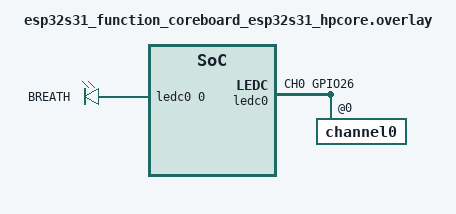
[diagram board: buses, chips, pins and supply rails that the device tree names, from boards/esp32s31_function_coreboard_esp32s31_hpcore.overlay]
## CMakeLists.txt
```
cmake_minimum_required(VERSION 3.20.0)
find_package(Zephyr REQUIRED HINTS $ENV{ZEPHYR_BASE})
project(korvo_lab)

# 同步呼吸灯规范由 Zephyr module `elab-app-common` 提供（breath_sync）。
# 本工程只负责取时间与刷灯。
target_sources(app PRIVATE src/main.c)
```

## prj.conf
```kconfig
# 阶段 3：驱动实机实验（GPIO / I2C / ADC / WS2812）
CONFIG_CONSOLE=y
CONFIG_SERIAL=y
CONFIG_UART_CONSOLE=y

CONFIG_GPIO=y
CONFIG_I2C=y
CONFIG_ADC=y

# WS2812 走 RMT（pulse_io）
CONFIG_LED_STRIP=y
CONFIG_WS2812_STRIP_PULSE_IO=y

# 第 3 项：PWM（LEDC0 通道0 → GPIO26）
CONFIG_PWM=y

# 第 6 项：CAN / TWAI（板载 twai0；S31 的 binding 是 esp32-twaifd，不是 esp32-twai）
CONFIG_CAN=y
CONFIG_CAN_ESP32_TWAIFD=y

# 第 1 项：按键走 input 子系统。
# adc-keys 驱动自己是 default y（节点一进树就编），但 INPUT 子系统不会自动开，
# 漏了这一行就是链接期 undefined reference。
CONFIG_INPUT=y

CONFIG_SHELL=y
CONFIG_SHELL_BACKEND_SERIAL=y
CONFIG_SHELL_STACK_SIZE=4096

CONFIG_LOG=y
CONFIG_LOG_DEFAULT_LEVEL=3

CONFIG_MAIN_STACK_SIZE=2560
CONFIG_HEAP_MEM_POOL_SIZE=8192
```

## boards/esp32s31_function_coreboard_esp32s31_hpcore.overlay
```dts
/*
 * korvo_lab 的 Korvo-1（ESP32-S31）板级 overlay（驱动实验台）
 *
 * 文件名 = 板目标下划线化：esp32s31_function_coreboard/esp32s31/hpcore
 *          -> esp32s31_function_coreboard_esp32s31_hpcore.overlay
 *
 * 公共差异收进 ../../../common/korvo_board.dtsi（PA_CTRL / WS2812@GPIO37 / adc0），
 * 本工程额外要 I2C0，所以再引一层 ../../../common/korvo_i2c.dtsi。
 * 相对路径是相对本文件（boards\），所以是 ..\..\..\common\。
 *
 * 引脚（官方用户指南 V1.1）：
 *   I2C_SDA=GPIO0  I2C_SCL=GPIO1（ES8389）
 *   PA_CTRL=GPIO7  WS2812=GPIO37（RMT OUT0）
 *   BOOT=GPIO61（bank1 pin29，上游板级 gpio-keys 里已定义）
 */

#include <zephyr/dt-bindings/pwm/pwm.h>
#include <zephyr/dt-bindings/gpio/gpio.h>

#include "../../../common/korvo_board.dtsi"
#include "../../../common/korvo_i2c.dtsi"

/* ---------- 第 3 项：PWM（LEDC0 通道 0 → GPIO26） ----------
 * 板上没有独立的 PWM 负载（LCD_MOSI/SCK 是屏专用），GPIO26 在官方管脚表里
 * 未被任何器件占用，接一个 LED + 限流电阻就能看到呼吸效果。
 * LEDC 的通道必须在子节点里声明（reg = 通道号），pinctrl 宏名是 LEDC_CH0_GPIO26。
 */
&pinctrl {
	ledc0_korvo: ledc0_korvo {
		group1 {
			pinmux = <LEDC_CH0_GPIO26>;
			output-enable;
		};
	};
};

&ledc0 {
	pinctrl-0 = <&ledc0_korvo>;
	pinctrl-names = "default";
	status = "okay";
	#address-cells = <1>;
	#size-cells = <0>;

	channel0@0 {
		reg = <0>;
		timer = <0>;
	};
};

/ {
	pwmleds {
		compatible = "pwm-leds";

		breath: breath_led {
			/* 通道 0，周期 1 ms（1 kHz），高有效 */
			pwms = <&ledc0 0 1000000 GPIO_ACTIVE_HIGH>;
			label = "BREATH";
		};
	};

	aliases {
		pwm-led0 = &breath;
		can0 = &twai0;
	};
};
```

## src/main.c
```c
/*
 * Korvo-1 驱动实验台：lab gpio / lab i2c / lab adc / lab led
 *
 * 每个子命令打印"接口返回值 + 现场读数"，教程正文里的 [xxx] 行就是这里的原样输出。
 */

#include <zephyr/kernel.h>
#include <zephyr/shell/shell.h>
#include <zephyr/drivers/gpio.h>
#include <zephyr/drivers/i2c.h>
#include <zephyr/drivers/adc.h>
#include <zephyr/drivers/led_strip.h>
#include <zephyr/drivers/pwm.h>
#include <zephyr/drivers/can.h>
#include <zephyr/logging/log.h>

#include <stdlib.h>

/* 同步呼吸灯规范 v1.0（applications\common）：纯函数 + UTC 估计器，只依赖 stdint.h */
#include "breath_sync.h"

LOG_MODULE_REGISTER(lab, LOG_LEVEL_INF);

#define PA_GPIOS   DT_ALIAS(pa_ctrl)
#define KEY_GPIOS  DT_ALIAS(sw0)
#define STRIP_NODE DT_ALIAS(led_strip)

static const struct gpio_dt_spec pa  = GPIO_DT_SPEC_GET(PA_GPIOS, gpios);
static const struct gpio_dt_spec key = GPIO_DT_SPEC_GET(KEY_GPIOS, gpios);
static const struct device *strip = DEVICE_DT_GET(STRIP_NODE);
static const struct device *bus = DEVICE_DT_GET(DT_NODELABEL(i2c0));
static const struct device *adc_dev = DEVICE_DT_GET(DT_NODELABEL(adc0));

/* 第 3 项：PWM（breath 节点 = &ledc0 通道 0 → GPIO26） */
static const struct pwm_dt_spec breath = PWM_DT_SPEC_GET(DT_NODELABEL(breath));

/* 呼吸灯规范 v1.0 的 UTC 估计器：没网没 RTC，靠 lab synctime 人工对表 */
static struct breath_clock g_breath_clk;

/* 第 6 项：CAN（板载 twai0，环回自发自收） */
static const struct device *can_dev = DEVICE_DT_GET(DT_NODELABEL(twai0));
K_MSGQ_DEFINE(can_rxq, sizeof(struct can_frame), 4, 4);

/* ES8389 在 0x10（i2c scan 实测），另一个从设备在 0x14 */
#define CODEC_ADDR 0x10
#define GHOST_ADDR 0x50

static const char *err(int ret)
{
	switch (ret) {
	case 0:          return "0";
	case -ENOTSUP:   return "-ENOTSUP";
	case -ENODEV:    return "-ENODEV";
	case -EIO:       return "-EIO";
	case -EINVAL:    return "-EINVAL";
	case -EBUSY:     return "-EBUSY";
	case -ENOSYS:    return "-ENOSYS";
	case -ETIMEDOUT: return "-ETIMEDOUT";
	default:         return "?";
	}
}

static volatile uint32_t cb_count;
static volatile uint32_t cb_pins;
static struct gpio_callback key_cb;

static void on_key(const struct device *port, struct gpio_callback *cb, uint32_t pins)
{
	ARG_UNUSED(port);
	ARG_UNUSED(cb);

	cb_count++;
	cb_pins = pins;
}

/* --------------------------------------------------------------- GPIO 原始寄存器 */
/*
 * gpio0 基址 0x20583000，gpio1 基址 0x20583800
 *   IN   = +0x64   IN1 = +0x68   ENABLE = +0x34
 * 用来验证"按键到底有没有动"，绕开驱动抽象层。
 */
#define GPIO0_BASE 0x20583000u
#define GPIO1_BASE 0x20583800u
#define REG_IN     0x64u
#define REG_IN1    0x68u
#define REG_ENA    0x34u

static int cmd_key(const struct shell *sh, size_t argc, char **argv)
{
	ARG_UNUSED(argc);
	ARG_UNUSED(argv);

	const struct device *g0 = DEVICE_DT_GET(DT_NODELABEL(gpio0));
	int ret;

	shell_print(sh, "配置前: ENABLE1=0x%08x IN1=0x%08x", sys_read32(GPIO0_BASE + 0x40u),
		    sys_read32(GPIO0_BASE + REG_IN1));

	/* BOOT 是物理引脚 61（bank1 第 29 个）：直接用 gpio0 设备 + 61 */
	ret = gpio_pin_configure(g0, 61, GPIO_INPUT | GPIO_PULL_UP);
	shell_print(sh, "gpio_pin_configure(gpio0, 61, INPUT|PULL_UP) = %s", err(ret));
	k_msleep(20);

	shell_print(sh, "配置后: ENABLE1=0x%08x IN1=0x%08x, api_get(61)=%d",
		    sys_read32(GPIO0_BASE + 0x40u), sys_read32(GPIO0_BASE + REG_IN1),
		    gpio_pin_get(g0, 61));

	uint32_t last = 0xFFFFFFFFu;

	shell_print(sh, "6 秒内监听，请按住 BOOT 键 2 秒再松开...");

	for (int i = 0; i < 60; i++) {
		uint32_t in1 = sys_read32(GPIO0_BASE + REG_IN1);
		int lvl_api = gpio_pin_get(g0, 61);
		uint32_t lvl_raw = !!(in1 & BIT(29));

		if (lvl_raw != last) {
			shell_print(sh, "[t=%d.%01ds] IN1=0x%08x bit29=%u api_get=%d", i / 10,
				    i % 10, in1, lvl_raw, lvl_api);
			last = lvl_raw;
		}
		k_msleep(100);
	}

	shell_print(sh, "结束: IN1=0x%08x, api_get=%d", sys_read32(GPIO0_BASE + REG_IN1),
		    gpio_pin_get(g0, 61));
	return 0;
}

/* ---------------------------------------------------------------- GPIO */
static int cmd_gpio(const struct shell *sh, size_t argc, char **argv)
{
	ARG_UNUSED(argc);
	ARG_UNUSED(argv);

	int ret;
	int level;
	gpio_port_value_t v;

	shell_print(sh, "[node] pa=%s key=%s", pa.port->name, key.port->name);

	/* ---- configure ---- */
	ret = gpio_pin_configure_dt(&pa, GPIO_OUTPUT_INACTIVE);
	shell_print(sh, "[configure] PA%d 输出，初始低 = %s", pa.pin, err(ret));

	ret = gpio_pin_configure_dt(&pa, GPIO_OUTPUT | GPIO_OPEN_DRAIN);
	shell_print(sh, "[configure] PA%d 开漏输出 = %s", pa.pin, err(ret));

	ret = gpio_pin_configure_dt(&pa, GPIO_OUTPUT | GPIO_OPEN_SOURCE);
	shell_print(sh, "[configure] PA%d 开源输出 = %s", pa.pin, err(ret));

	ret = gpio_pin_configure_dt(&key, GPIO_INPUT | GPIO_PULL_UP);
	shell_print(sh, "[configure] BOOT(gpio1 pin%d) 输入+上拉 = %s", key.pin, err(ret));

	/* ---- set / get / raw ---- */
	ret = gpio_pin_configure_dt(&pa, GPIO_OUTPUT_INACTIVE);
	ret = gpio_pin_set_dt(&pa, 1);
	shell_print(sh, "[set] gpio_pin_set_dt(PA,1) = %s", err(ret));

	level = gpio_pin_get_dt(&pa);
	shell_print(sh, "[get] gpio_pin_get_dt(PA) = %d", level);

	ret = gpio_port_get_raw(pa.port, &v);
	shell_print(sh, "[get_raw] gpio_port_get_raw(gpio0) = %s, PA 位 = %d", err(ret),
		    !!(v & BIT(pa.pin)));

	ret = gpio_pin_set_dt(&pa, 0);
	shell_print(sh, "[set] gpio_pin_set_dt(PA,0) = %s", err(ret));

	/* ---- toggle ---- */
	ret = gpio_pin_toggle_dt(&pa);
	shell_print(sh, "[toggle] gpio_pin_toggle_dt(PA) = %s", err(ret));
	for (int i = 0; i < 6; i++) {
		k_msleep(100);
		gpio_pin_toggle_dt(&pa);
	}
	shell_print(sh, "[toggle] 翻转 6 次完成（PA_CTRL 无指示灯，靠返回值确认）");

	/* ---- 端口级操作 ---- */
	ret = gpio_port_clear_bits_raw(pa.port, BIT(pa.pin));
	gpio_port_get_raw(pa.port, &v);
	shell_print(sh, "[port_clear] gpio_port_clear_bits_raw = %s, PA 位 = %d", err(ret),
		    !!(v & BIT(pa.pin)));

	ret = gpio_port_set_bits_raw(pa.port, BIT(pa.pin));
	gpio_port_get_raw(pa.port, &v);
	shell_print(sh, "[port_set] gpio_port_set_bits_raw = %s, PA 位 = %d", err(ret),
		    !!(v & BIT(pa.pin)));

	ret = gpio_port_toggle_bits(pa.port, BIT(pa.pin));
	gpio_port_get_raw(pa.port, &v);
	shell_print(sh, "[port_toggle] gpio_port_toggle_bits = %s, PA 位 = %d", err(ret),
		    !!(v & BIT(pa.pin)));

	ret = gpio_port_set_masked_raw(pa.port, BIT(pa.pin), 0);
	gpio_port_get_raw(pa.port, &v);
	shell_print(sh, "[port_masked] gpio_port_set_masked_raw(PA,0) = %s, PA 位 = %d", err(ret),
		    !!(v & BIT(pa.pin)));

	/* ---- 按键输入 ---- */
	k_msleep(10);
	level = gpio_pin_get_dt(&key);
	shell_print(sh, "[get] gpio_pin_get_dt(BOOT) = %d  (0=按下 1=松开)", level);

	ret = gpio_port_get_raw(key.port, &v);
	shell_print(sh, "[get_raw] gpio_port_get_raw(gpio1) = %s, BOOT 位 = %d", err(ret),
		    !!(v & BIT(key.pin)));

	/* ---- 中断 ---- */
	gpio_init_callback(&key_cb, on_key, BIT(key.pin));
	ret = gpio_add_callback(key.port, &key_cb);
	shell_print(sh, "[init_callback] gpio_add_callback = %s, pin_mask = 0x%08x", err(ret),
		    (unsigned int)key_cb.pin_mask);

	ret = gpio_pin_interrupt_configure_dt(&key, GPIO_INT_EDGE_BOTH);
	shell_print(sh, "[interrupt] 装 EDGE_BOTH = %s", err(ret));
	shell_print(sh, "[interrupt] 现在按几下 BOOT 键（10 秒窗口）...");

	cb_count = 0;
	uint32_t edges = 0;
	int last = gpio_pin_get_dt(&key);

	for (int i = 0; i < 100; i++) {
		k_msleep(100);
		int cur = gpio_pin_get_dt(&key);

		if (cur != last) {
			edges++;
			last = cur;
		}
	}
	shell_print(sh, "[interrupt] 轮询到电平变化 %u 次，回调 %u 次", edges, cb_count);
	shell_print(sh, "[interrupt] 最后 pins = 0x%08x，当前电平 = %d", cb_pins,
		    gpio_pin_get_dt(&key));

	ret = gpio_pin_interrupt_configure_dt(&key, GPIO_INT_DISABLE);
	shell_print(sh, "[interrupt] GPIO_INT_DISABLE = %s", err(ret));

	ret = gpio_get_pending_int(key.port);
	shell_print(sh, "[pending] gpio_get_pending_int(gpio1) = %d", ret);

	return 0;
}

/* ----------------------------------------------------------------- I2C */
static int cmd_i2c(const struct shell *sh, size_t argc, char **argv)
{
	ARG_UNUSED(argc);
	ARG_UNUSED(argv);

	if (!device_is_ready(bus)) {
		shell_error(sh, "i2c0 not ready");
		return -ENODEV;
	}

	shell_print(sh, "[node] bus=%s", bus->name);

	/* ---- i2c_configure ---- */
	int ret;

	ret = i2c_configure(bus, I2C_SPEED_SET(I2C_SPEED_STANDARD) | I2C_MODE_CONTROLLER);
	shell_print(sh, "[configure] standard 100 kHz = %s", err(ret));

	ret = i2c_configure(bus, I2C_SPEED_SET(I2C_SPEED_FAST) | I2C_MODE_CONTROLLER);
	shell_print(sh, "[configure] fast 400 kHz = %s", err(ret));

	ret = i2c_configure(bus, I2C_SPEED_SET(I2C_SPEED_FAST_PLUS) | I2C_MODE_CONTROLLER);
	shell_print(sh, "[configure] fast plus 1 MHz = %s", err(ret));

	ret = i2c_configure(bus, I2C_SPEED_SET(I2C_SPEED_STANDARD) | I2C_MODE_CONTROLLER |
			    I2C_ADDR_10_BITS);
	shell_print(sh, "[configure] 10 bit 地址 = %s", err(ret));

	ret = i2c_configure(bus, I2C_SPEED_SET(I2C_SPEED_STANDARD));
	shell_print(sh, "[configure] 缺 I2C_MODE_CONTROLLER = %s", err(ret));

	i2c_configure(bus, I2C_SPEED_SET(I2C_SPEED_FAST) | I2C_MODE_CONTROLLER);

	/* ---- i2c_get_config ---- */
	uint32_t cfg = 0;

	ret = i2c_get_config(bus, &cfg);
	shell_print(sh, "[get_config] i2c_get_config = %s, cfg = 0x%08x", err(ret), cfg);

	/* ---- 扫描 ---- */
	int found = 0;

	shell_print(sh, "[scan] 0x08..0x77 逐个零字节写：");
	for (uint16_t a = 0x08; a <= 0x77; a++) {
		if (i2c_write(bus, NULL, 0, a) == 0) {
			shell_print(sh, "[scan] 发现 0x%02x", a);
			found++;
		}
	}
	shell_print(sh, "[scan] 共 %d 个从设备", found);

	/* ---- write 设寄存器地址 + read 取值 ---- */
	uint8_t reg = 0x00;
	uint8_t val = 0;

	ret = i2c_write(bus, &reg, 1, CODEC_ADDR);
	shell_print(sh, "[write] i2c_write(reg 0x00) = %s", err(ret));

	ret = i2c_read(bus, &val, 1, CODEC_ADDR);
	shell_print(sh, "[read]  i2c_read(1B) = %s, val = 0x%02x", err(ret), val);

	/* ---- 读一串寄存器 ---- */
	uint8_t regs[8] = {0};

	for (uint8_t r = 0; r < 8; r++) {
		uint8_t v = 0;

		ret = i2c_reg_read_byte(bus, CODEC_ADDR, r, &v);
		if (ret == 0) {
			regs[r] = v;
		}
	}
	shell_print(sh, "[regs] 0x%02x 0x%02x 0x%02x 0x%02x 0x%02x 0x%02x 0x%02x 0x%02x",
		    regs[0], regs[1], regs[2], regs[3], regs[4], regs[5], regs[6], regs[7]);

	/* ---- write_read（无停止的重复起始）---- */
	uint8_t burst[4] = {0};

	ret = i2c_write_read(bus, CODEC_ADDR, &reg, 1, burst, sizeof(burst));
	shell_print(sh, "[write_read] = %s: %02x %02x %02x %02x", err(ret), burst[0], burst[1],
		    burst[2], burst[3]);

	/* ---- burst_read ---- */
	ret = i2c_burst_read(bus, CODEC_ADDR, 0x00, burst, sizeof(burst));
	shell_print(sh, "[burst] i2c_burst_read(0x00,4) = %s", err(ret));

	/* ---- transfer ---- */
	struct i2c_msg msgs[2] = {
		{ .buf = &reg, .len = 1, .flags = I2C_MSG_WRITE },
		{ .buf = burst, .len = sizeof(burst),
		  .flags = I2C_MSG_READ | I2C_MSG_RESTART | I2C_MSG_STOP },
	};

	ret = i2c_transfer(bus, msgs, 2, CODEC_ADDR);
	shell_print(sh, "[transfer] write+restart+read = %s", err(ret));

	msgs[1].flags |= I2C_MSG_ADDR_10_BITS;
	ret = i2c_transfer(bus, msgs, 2, CODEC_ADDR);
	shell_print(sh, "[transfer] 10 bit 地址 = %s", err(ret));

	msgs[1].flags &= ~I2C_MSG_ADDR_10_BITS;
	ret = i2c_transfer(bus, msgs, 2, 0x100);
	shell_print(sh, "[transfer] 地址 0x100 = %s", err(ret));

	/* ---- 没有设备应答 ---- */
	uint8_t b = 0;

	ret = i2c_read(bus, &b, 1, GHOST_ADDR);
	shell_print(sh, "[nack] 读 0x%02x = %s", GHOST_ADDR, err(ret));

	ret = i2c_write(bus, &b, 1, GHOST_ADDR);
	shell_print(sh, "[nack] 写 0x%02x = %s", GHOST_ADDR, err(ret));

	return 0;
}

/* ----------------------------------------------------------------- ADC */
static int cmd_adc(const struct shell *sh, size_t argc, char **argv)
{
	ARG_UNUSED(argc);
	ARG_UNUSED(argv);

	if (!device_is_ready(adc_dev)) {
		shell_error(sh, "adc0 not ready");
		return -ENODEV;
	}

	int32_t raw = 0;
	struct adc_sequence seq = {
		.resolution = 17,           /* S31 只有 17 位，别的值驱动拒绝 */
		.buffer = &raw,
		.buffer_size = sizeof(raw),
		.channels = 0,
	};

	shell_print(sh, "[node] adc=%s, resolution=17", adc_dev->name);

	for (int ch = 0; ch < 8; ch++) {
		struct adc_channel_cfg cfg = {
			.gain = ADC_GAIN_1,
			.reference = ADC_REF_INTERNAL,
			.acquisition_time = ADC_ACQ_TIME_DEFAULT,
			.channel_id = ch,
		};

		int ret = adc_channel_setup(adc_dev, &cfg);

		if (ret != 0) {
			shell_print(sh, "[setup] ch%d = %s", ch, err(ret));
			continue;
		}

		seq.channels = BIT(ch);
		ret = adc_read(adc_dev, &seq);
		if (ret != 0) {
			shell_print(sh, "[read] ch%d = %s", ch, err(ret));
			continue;
		}

		int32_t mv = raw;

		ret = adc_raw_to_millivolts(1100, ADC_GAIN_1, 17, &mv);
		shell_print(sh, "[read] ch%d 原始=%d%s", ch, raw,
			    ret == 0 ? "" : "(换算失败)");

		if (ret == 0) {
			shell_print(sh, "       约 %d mV", mv);
		}
	}
	return 0;
}

/* ----------------------------------------------------------------- LED */
static int cmd_led(const struct shell *sh, size_t argc, char **argv)
{
	ARG_UNUSED(argc);
	ARG_UNUSED(argv);

	if (!device_is_ready(strip)) {
		shell_error(sh, "led_strip not ready：检查 CONFIG_WS2812_STRIP_PULSE_IO 和 &rmt");
		return -ENODEV;
	}

	shell_print(sh, "[node] strip=%s, length=%d", strip->name, led_strip_length(strip));
	shell_print(sh, "[color-mapping] 板级 dts 是 GRB，驱动自动按此重排");

	struct led_rgb px = {0};
	const char *names[] = {"红", "绿", "蓝", "白", "灭"};
	struct led_rgb colors[] = {
		{.r = 0x20, .g = 0x00, .b = 0x00},
		{.r = 0x00, .g = 0x20, .b = 0x00},
		{.r = 0x00, .g = 0x00, .b = 0x20},
		{.r = 0x20, .g = 0x20, .b = 0x20},
		{.r = 0x00, .g = 0x00, .b = 0x00},
	};

	for (int i = 0; i < ARRAY_SIZE(colors); i++) {
		px = colors[i];
		int ret = led_strip_update_rgb(strip, &px, 1);

		shell_print(sh, "[update] %s = %s", names[i], err(ret));
		k_msleep(400);
	}
	shell_print(sh, "[update] 完成（WS2812 在 GPIO37）");
	return 0;
}

/* ------------------------------------------------------------- 第 3 项：PWM */
static int cmd_pwm(const struct shell *sh, size_t argc, char **argv)
{
	ARG_UNUSED(argc);
	ARG_UNUSED(argv);

	if (!device_is_ready(breath.dev)) {
		shell_error(sh, "ledc0 通道 0 未就绪：检查 &ledc0 的 status / channel0@0 / pinctrl");
		return -ENODEV;
	}

	uint32_t period = breath.period;
	int ret;

	shell_print(sh, "[node] pwm=%s, channel=%u, period=%u ns (%u Hz)",
		    breath.dev->name, breath.channel, period, 1000000000u / period);

	/* 0 → 满 → 0 扫两遍：外接 LED 能看到两次呼吸 */
	for (int pass = 0; pass < 2; pass++) {
		for (int i = 0; i <= 20; i++) {
			uint32_t pulse = period * (pass == 0 ? i : (20 - i)) / 20u;

			ret = pwm_set_dt(&breath, period, pulse);
			if (ret != 0) {
				shell_error(sh, "[set] duty=%u%% = %s", i * 5, err(ret));
				return ret;
			}
			shell_print(sh, "[set] duty=%3u%%  pulse=%u ns = %s",
				    i * 5, pulse, err(ret));
			k_msleep(120);
		}
	}

	ret = pwm_set_dt(&breath, period, 0);
	shell_print(sh, "[set] 收尾 duty=0 = %s（GPIO26 上没有负载时只能看返回值）", err(ret));
	return 0;
}

/* ------------------------------- 附加：同步呼吸（规范 v1.0，PWM 路径）
 *
 * 上面 lab pwm 是「逐档扫一遍看返回值」的驱动实验，自变量是循环计数；
 * 这里 lab syncbreath 是「规范实现」：周期固定 4 s、亮度由绝对 UTC 查表，
 * 所以两台设备 `lab synctime` 对过同一个 epoch 秒之后，呼吸严格同相。
 *
 * 这条命令同时演示规范 §7.5 的做法：用 12 位占空比，而不是 8 位 ——
 * 8 位在 level=1..5 时只有 5 个台阶，暗部会“咯噔”一下。
 */
static int cmd_synctime(const struct shell *sh, size_t argc, char **argv)
{
	if (argc < 2) {
		shell_print(sh, "用法: lab synctime <epoch_seconds>");
		shell_print(sh, "  例: lab synctime 1735689600  （= 2025-01-01T00:00:00Z，相位 0）");
		return -EINVAL;
	}

	int64_t sec = (int64_t)strtoul(argv[1], NULL, 0);
	int64_t mono = (int64_t)k_uptime_get() * 1000;
	int r = breath_clock_observe_src(&g_breath_clk, mono, sec * 1000000,
					 BREATH_SRC_MANUAL, 0);

	shell_print(sh, "[synctime] %u s → 处理=%d（1=吸收 2=缓释 3=跳变）",
		    (unsigned)sec, r);
	shell_print(sh, "[synctime] 等级=%u/3  相位=%u/256  预算=%d ms",
		    (unsigned)breath_clock_level(&g_breath_clk, mono),
		    (unsigned)breath_phase((uint64_t)(sec * 1000000)),
		    (int)(breath_clock_error_budget_us(&g_breath_clk, mono) / 1000));
	return 0;
}

static int cmd_syncbreath(const struct shell *sh, size_t argc, char **argv)
{
	if (!device_is_ready(breath.dev)) {
		shell_error(sh, "ledc0 通道 0 未就绪：检查 &ledc0 的 status / channel0@0 / pinctrl");
		return -ENODEV;
	}

	int sec = (argc > 1) ? atoi(argv[1]) : 8;       /* 默认跑两个完整周期 */
	int peak = (argc > 2) ? atoi(argv[2]) : 255;

	if (sec < 1 || sec > 60) {
		sec = 8;
	}
	peak = CLAMP(peak, 1, 255);

	uint32_t period = breath.period;

	shell_print(sh, "[syncbreath] %d s，峰值 %d，周期 4 s，12 位占空比（规范 v1.0）",
		    sec, peak);
	shell_print(sh, "[syncbreath] 等级=%u/3（0=未授时半亮，先 lab synctime）",
		    (unsigned)breath_clock_level(&g_breath_clk,
						 (int64_t)k_uptime_get() * 1000));

	for (int i = 0; i < sec * 25; i++) {            /* 25 fps */
		int64_t mono = (int64_t)k_uptime_get() * 1000;
		int64_t utc = breath_clock_now_us(&g_breath_clk, mono);
		uint64_t now_u = (utc > 0) ? (uint64_t)utc : 0ull;
		uint8_t base = (uint8_t)peak;
		uint8_t out = 0;
		uint8_t gain = breath_gain_guard(100, breath_clock_level(&g_breath_clk, mono));

		/* n = 1：单色 PWM 通道。同一个亮度标量，换成 RGB 只是把 n 改成 3 */
		breath_channels(now_u, &base, 1, gain, &out);

		uint32_t duty = breath_duty(out, 12);                  /* 0..4095 */
		uint32_t pulse = (uint32_t)((uint64_t)period * duty / 4095u);

		int ret = pwm_set_dt(&breath, period, pulse);

		if (ret != 0) {
			shell_error(sh, "[syncbreath] duty=%u pulse=%u ns = %s",
				    duty, pulse, err(ret));
			return ret;
		}
		k_msleep(40);
	}

	pwm_set_dt(&breath, period, 0);
	shell_print(sh, "[syncbreath] 结束。两台设备对过表后，这一路呼吸与别处严格同拍");
	return 0;
}

/* ------------------------------------------------------------- 第 6 项：CAN */
static int cmd_can(const struct shell *sh, size_t argc, char **argv)
{
	ARG_UNUSED(argc);
	ARG_UNUSED(argv);

	if (!device_is_ready(can_dev)) {
		shell_error(sh, "twai0 未就绪：检查 board dts 里 twai0 是否 okay");
		return -ENODEV;
	}

	int ret;

	shell_print(sh, "[node] can=%s", can_dev->name);

	ret = can_set_mode(can_dev, CAN_MODE_LOOPBACK);
	shell_print(sh, "[set_mode] CAN_MODE_LOOPBACK = %s", err(ret));
	if (ret != 0) {
		return ret;
	}

	ret = can_set_bitrate(can_dev, 500000);
	shell_print(sh, "[set_bitrate] 500 kbit/s = %s", err(ret));

	struct can_filter filter = {
		.id = 0x123,
		.mask = 0x7FF,
	};
	int filter_idx = can_add_rx_filter_msgq(can_dev, &can_rxq, &filter);

	shell_print(sh, "[rx_filter] add = %d", filter_idx);

	ret = can_start(can_dev);
	shell_print(sh, "[start] can_start = %s", err(ret));
	if (ret != 0) {
		return ret;
	}

	struct can_frame tx = {0};
	struct can_frame rx = {0};

	tx.id = 0x123;
	tx.dlc = 8;
	for (int i = 0; i < 8; i++) {
		tx.data[i] = (uint8_t)(0xA0 + i);
	}

	ret = can_send(can_dev, &tx, K_MSEC(200), NULL, NULL);
	shell_print(sh, "[send] id=0x123 dlc=8 = %s", err(ret));

	ret = k_msgq_get(&can_rxq, &rx, K_MSEC(300));
	if (ret == 0) {
		shell_print(sh, "[recv] id=0x%03x dlc=%u data=%02x %02x %02x %02x %02x %02x %02x %02x",
			    rx.id, rx.dlc, rx.data[0], rx.data[1], rx.data[2], rx.data[3],
			    rx.data[4], rx.data[5], rx.data[6], rx.data[7]);

		bool same = (rx.id == tx.id) && (rx.dlc == tx.dlc);

		for (int i = 0; i < 8; i++) {
			if (rx.data[i] != tx.data[i]) {
				same = false;
			}
		}
		shell_print(sh, "[verify] 环回一致 = %s", same ? "是" : "否");
	} else {
		shell_print(sh, "[recv] 300ms 内没收到 = %s（环回模式下正常应立刻收到）", err(ret));
	}

	can_stop(can_dev);
	can_remove_rx_filter(can_dev, filter_idx);
	shell_print(sh, "[stop] can_stop + remove_filter 完成");

	return 0;
}

/* --------------------------------------------- 第 1 项：ADC 键电压校准窗口 */
static int cmd_adcwatch(const struct shell *sh, size_t argc, char **argv)
{
	if (!device_is_ready(adc_dev)) {
		shell_error(sh, "adc0 not ready");
		return -ENODEV;
	}

	uint32_t ch = (argc > 1) ? (uint32_t)atoi(argv[1]) : 0;
	int32_t raw = 0;
	struct adc_sequence seq = {
		.resolution = 17,
		.buffer = &raw,
		.buffer_size = sizeof(raw),
		.channels = BIT(ch),
	};
	struct adc_channel_cfg cfg = {
		.gain = ADC_GAIN_1,
		.reference = ADC_REF_INTERNAL,
		.acquisition_time = ADC_ACQ_TIME_DEFAULT,
		.channel_id = ch,
	};

	int ret = adc_channel_setup(adc_dev, &cfg);

	if (ret != 0) {
		shell_error(sh, "channel %u setup = %s", ch, err(ret));
		return ret;
	}

	shell_print(sh, "通道 %u，8 秒窗口：请依次按 PLAY / SET / VOL- / VOL+，每按一下停 1 秒", ch);

	int32_t last = -32768;

	for (int i = 0; i < 80; i++) {
		int32_t mv = raw;

		raw = 0;
		ret = adc_read(adc_dev, &seq);
		if (ret != 0) {
			shell_print(sh, "[read] = %s", err(ret));
			return ret;
		}
		mv = raw;
		adc_raw_to_millivolts(1100, ADC_GAIN_1, 17, &mv);

		if (last == -32768 || abs(mv - last) >= 30) {
			shell_print(sh, "[%d.%01ds] %d mV", i / 10, i % 10, mv);
			last = mv;
		}
		k_msleep(100);
	}

	shell_print(sh, "窗口结束，最后读数 %d mV", last);
	return 0;
}

SHELL_STATIC_SUBCMD_SET_CREATE(sub_lab,
	SHELL_CMD(gpio, NULL, "GPIO：configure/set/get/raw/端口/中断", cmd_gpio),
	SHELL_CMD(key, NULL, "BOOT 键原始寄存器观察（绕开驱动）", cmd_key),
	SHELL_CMD(i2c, NULL, "I2C：configure/get_config/scan/read/write/transfer", cmd_i2c),
	SHELL_CMD(adc, NULL, "ADC：8 个通道（17 位）", cmd_adc),
	SHELL_CMD(adcwatch, NULL, "ADC 键电压校准：lab adcwatch [通道]", cmd_adcwatch),
	SHELL_CMD(led, NULL, "WS2812：RGB 依次点亮", cmd_led),
	SHELL_CMD(pwm, NULL, "PWM：LEDC0 通道0(GPIO26) 呼吸", cmd_pwm),
	SHELL_CMD_ARG(synctime, NULL, "人工授时，对表后多台设备同相", cmd_synctime, 2, 0),
	SHELL_CMD_ARG(syncbreath, NULL, "规范同步呼吸（4 s 余弦，PWM 12 位）[秒] [峰值]", cmd_syncbreath, 1, 2),
	SHELL_CMD(can, NULL, "CAN：twai0 环回自发自收", cmd_can),
	SHELL_SUBCMD_SET_END);

SHELL_CMD_REGISTER(lab, &sub_lab, "Korvo-1 驱动实验台", NULL);

int main(void)
{
	printk("\n=== Korvo-1 lab ===\n");
	printk("lab gpio / lab i2c / lab adc / lab led\n");
	printk("[breath] 同步呼吸：lab synctime <epoch秒> → lab syncbreath 8（PWM 灯，周期 4 s）\n");

	/* 呼吸灯的 UTC 估计器：先自由运行（等级 0、半亮），等 lab synctime 对表 */
	breath_clock_init_freerun(&g_breath_clk, (int64_t)k_uptime_get() * 1000);
	return 0;
}
```
